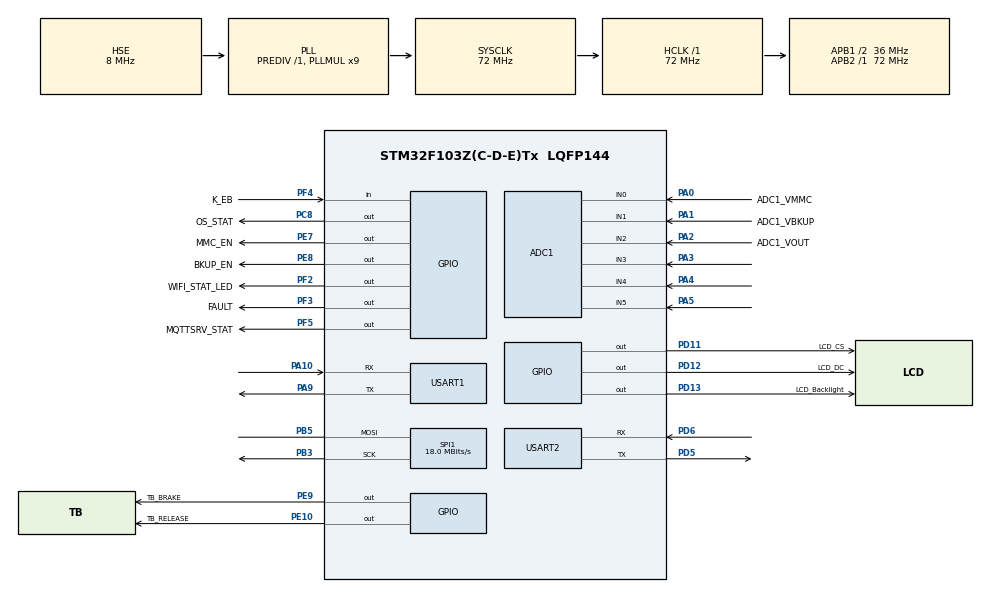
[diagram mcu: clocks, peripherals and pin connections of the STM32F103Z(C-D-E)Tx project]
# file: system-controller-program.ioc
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ADC1.Channel-10\#ChannelRegularConversion=ADC_CHANNEL_3
ADC1.Channel-11\#ChannelRegularConversion=ADC_CHANNEL_4
ADC1.Channel-12\#ChannelRegularConversion=ADC_CHANNEL_5
ADC1.Channel-4\#ChannelRegularConversion=ADC_CHANNEL_0
ADC1.Channel-5\#ChannelRegularConversion=ADC_CHANNEL_1
ADC1.Channel-6\#ChannelRegularConversion=ADC_CHANNEL_2
ADC1.ContinuousConvMode=ENABLE
ADC1.DiscontinuousConvMode=DISABLE
ADC1.EnableRegularConversion=ENABLE
ADC1.ExternalTrigConv=ADC_SOFTWARE_START
ADC1.NbrOfConversion=6
ADC1.NbrOfConversionFlag=1
ADC1.Rank-10\#ChannelRegularConversion=4
ADC1.Rank-11\#ChannelRegularConversion=5
ADC1.Rank-12\#ChannelRegularConversion=6
ADC1.Rank-4\#ChannelRegularConversion=1
ADC1.Rank-5\#ChannelRegularConversion=2
ADC1.Rank-6\#ChannelRegularConversion=3
ADC1.SamplingTime-10\#ChannelRegularConversion=ADC_SAMPLETIME_41CYCLES_5
ADC1.SamplingTime-11\#ChannelRegularConversion=ADC_SAMPLETIME_41CYCLES_5
ADC1.SamplingTime-12\#ChannelRegularConversion=ADC_SAMPLETIME_41CYCLES_5
ADC1.SamplingTime-4\#ChannelRegularConversion=ADC_SAMPLETIME_41CYCLES_5
ADC1.SamplingTime-5\#ChannelRegularConversion=ADC_SAMPLETIME_41CYCLES_5
ADC1.SamplingTime-6\#ChannelRegularConversion=ADC_SAMPLETIME_28CYCLES_5
ADC1.master=1
Dma.ADC1.2.Direction=DMA_PERIPH_TO_MEMORY
Dma.ADC1.2.Instance=DMA1_Channel1
Dma.ADC1.2.MemDataAlignment=DMA_MDATAALIGN_WORD
Dma.ADC1.2.MemInc=DMA_MINC_ENABLE
Dma.ADC1.2.Mode=DMA_CIRCULAR
Dma.ADC1.2.PeriphDataAlignment=DMA_PDATAALIGN_WORD
Dma.ADC1.2.PeriphInc=DMA_PINC_DISABLE
Dma.ADC1.2.Priority=DMA_PRIORITY_HIGH
Dma.Request0=USART1_RX
Dma.Request1=USART2_RX
Dma.Request2=ADC1
Dma.Request3=USART2_TX
Dma.Request4=USART1_TX
Dma.USART1_RX.0.Direction=DMA_PERIPH_TO_MEMORY
Dma.USART1_RX.0.Instance=DMA1_Channel5
Dma.USART1_RX.0.MemDataAlignment=DMA_MDATAALIGN_BYTE
Dma.USART1_RX.0.MemInc=DMA_MINC_ENABLE
Dma.USART1_RX.0.Mode=DMA_NORMAL
Dma.USART1_RX.0.PeriphDataAlignment=DMA_PDATAALIGN_BYTE
Dma.USART1_RX.0.PeriphInc=DMA_PINC_DISABLE
Dma.USART1_RX.0.Priority=DMA_PRIORITY_HIGH
Dma.USART1_TX.4.Direction=DMA_MEMORY_TO_PERIPH
Dma.USART1_TX.4.Instance=DMA1_Channel4
Dma.USART1_TX.4.MemDataAlignment=DMA_MDATAALIGN_BYTE
Dma.USART1_TX.4.MemInc=DMA_MINC_ENABLE
Dma.USART1_TX.4.Mode=DMA_NORMAL
Dma.USART1_TX.4.PeriphDataAlignment=DMA_PDATAALIGN_BYTE
Dma.USART1_TX.4.PeriphInc=DMA_PINC_DISABLE
Dma.USART1_TX.4.Priority=DMA_PRIORITY_HIGH
Dma.USART2_RX.1.Direction=DMA_PERIPH_TO_MEMORY
Dma.USART2_RX.1.Instance=DMA1_Channel6
Dma.USART2_RX.1.MemDataAlignment=DMA_MDATAALIGN_BYTE
Dma.USART2_RX.1.MemInc=DMA_MINC_ENABLE
Dma.USART2_RX.1.Mode=DMA_NORMAL
Dma.USART2_RX.1.PeriphDataAlignment=DMA_PDATAALIGN_BYTE
Dma.USART2_RX.1.PeriphInc=DMA_PINC_DISABLE
Dma.USART2_RX.1.Priority=DMA_PRIORITY_HIGH
Dma.USART2_TX.3.Direction=DMA_MEMORY_TO_PERIPH
Dma.USART2_TX.3.Instance=DMA1_Channel7
Dma.USART2_TX.3.MemDataAlignment=DMA_MDATAALIGN_BYTE
Dma.USART2_TX.3.MemInc=DMA_MINC_ENABLE
Dma.USART2_TX.3.Mode=DMA_NORMAL
Dma.USART2_TX.3.PeriphDataAlignment=DMA_PDATAALIGN_BYTE
Dma.USART2_TX.3.PeriphInc=DMA_PINC_DISABLE
Dma.USART2_TX.3.Priority=DMA_PRIORITY_HIGH
FREERTOS.Events01=sys_stat,Dynamic,NULL;state_machine,Dynamic,NULL
FREERTOS.Mutexes01=adc_mutex,Dynamic,NULL;lcd_mutex,Dynamic,NULL;esp_mutex,Dynamic,NULL
FREERTOS.Queues01=esp_rx_queue,8,255,1,Dynamic,NULL,NULL;esp_tx_queue,8,255,1,Dynamic,NULL,NULL;usr_cmd_queue,4,50,1,Dynamic,NULL,NULL;report_pwr_queue,1,50,1,Dynamic,NULL,NULL;mqtt_rx_msg_queue,4,255,1,Dynamic,NULL,NULL
FREERTOS.Tasks01=pwr_monitor,24,1050,pwr_monitor_tsk,Default,NULL,Dynamic,NULL,NULL;esp_msg,24,1050,esp_msg_tsk,As external,NULL,Dynamic,NULL,NULL;led_blink,24,128,led_blink_tsk,Default,NULL,Dynamic,NULL,NULL;mqtt_msg,24,1050,mqtt_msg_tsk,As external,NULL,Dynamic,NULL,NULL;display_stat,24,1050,sys_stat_tsk,Default,NULL,Dynamic,NULL,NULL;pwr_switch,24,128,pwr_switch_tsk,Default,NULL,Dynamic,NULL,NULL
FREERTOS.Timers01=tmr_report_pwr,tmr_report_pwr_clbk,osTimerPeriodic,As external,NULL,Dynamic,NULL
FREERTOS.configTOTAL_HEAP_SIZE=32768
Mcu.Family=STM32F1
Mcu.Name=STM32F103Z(C-D-E)Tx
Mcu.Package=LQFP144
NVIC.ADC1_2_IRQn=true\:5\:0\:false\:false\:true\:true\:true\:true\:true
NVIC.DMA1_Channel1_IRQn=true\:5\:0\:false\:false\:true\:true\:false\:true\:true
NVIC.DMA1_Channel4_IRQn=true\:5\:0\:false\:false\:true\:true\:false\:true\:true
NVIC.DMA1_Channel5_IRQn=true\:5\:0\:false\:false\:true\:true\:false\:true\:true
NVIC.DMA1_Channel6_IRQn=true\:5\:0\:false\:false\:true\:true\:false\:true\:true
NVIC.DMA1_Channel7_IRQn=true\:5\:0\:false\:false\:true\:true\:false\:true\:true
NVIC.PriorityGroup=NVIC_PRIORITYGROUP_4
NVIC.TIM1_UP_IRQn=true\:15\:0\:false\:false\:true\:false\:false\:true\:true
NVIC.TimeBase=TIM1_UP_IRQn
NVIC.TimeBaseIP=TIM1
NVIC.USART1_IRQn=true\:5\:0\:false\:false\:true\:true\:true\:true\:true
NVIC.USART2_IRQn=true\:5\:0\:false\:false\:true\:true\:true\:true\:true
OSC_IN.Mode=HSE-External-Oscillator
OSC_IN.Signal=RCC_OSC_IN
OSC_OUT.Mode=HSE-External-Oscillator
OSC_OUT.Signal=RCC_OSC_OUT
PA0-WKUP.GPIO_Label=ADC1_VMMC
PA0-WKUP.Signal=ADCx_IN0
PA1.GPIO_Label=ADC1_VBKUP
PA1.Signal=ADCx_IN1
PA10.Mode=Asynchronous
PA10.Signal=USART1_RX
PA13.Mode=Serial_Wire
PA13.Signal=SYS_JTMS-SWDIO
PA14.Mode=Serial_Wire
PA14.Signal=SYS_JTCK-SWCLK
PA2.GPIO_Label=ADC1_VOUT
PA2.Signal=ADCx_IN2
PA3.Signal=ADCx_IN3
PA4.Signal=ADCx_IN4
PA5.Signal=ADCx_IN5
PA9.Mode=Asynchronous
PA9.Signal=USART1_TX
PB3.Mode=Simplex_Bidirectional_Master
PB3.Signal=SPI1_SCK
PB5.Mode=Simplex_Bidirectional_Master
PB5.Signal=SPI1_MOSI
PC8.GPIO_Label=OS_STAT
PC8.Signal=GPIO_Output
PD11.GPIO_Label=LCD_CS
PD11.GPIO_Speed=GPIO_SPEED_FREQ_HIGH
PD11.Signal=GPIO_Output
PD12.GPIO_Label=LCD_DC
PD12.GPIO_Speed=GPIO_SPEED_FREQ_HIGH
PD12.Signal=GPIO_Output
PD13.GPIO_Label=LCD_Backlight
PD13.GPIO_Speed=GPIO_SPEED_FREQ_HIGH
PD13.Signal=GPIO_Output
PD5.Mode=Asynchronous
PD5.Signal=USART2_TX
PD6.GPIO_PuPd=GPIO_PULLUP
PD6.Mode=Asynchronous
PD6.Signal=USART2_RX
PE10.GPIO_Label=TB_RELEASE
PE10.Signal=GPIO_Output
PE7.GPIO_Label=MMC_EN
PE7.Signal=GPIO_Output
PE8.GPIO_Label=BKUP_EN
PE8.Signal=GPIO_Output
PE9.GPIO_Label=TB_BRAKE
PE9.Signal=GPIO_Output
PF2.GPIO_Label=WIFI_STAT_LED
PF2.Signal=GPIO_Output
PF3.GPIO_Label=FAULT
PF3.Signal=GPIO_Output
PF4.GPIO_Label=K_EB
PF4.Signal=GPIO_Input
PF5.GPIO_Label=MQTTSRV_STAT
PF5.Signal=GPIO_Output
ProjectManager.HeapSize=0x200
ProjectManager.StackSize=0x400
ProjectManager.TargetToolchain=MDK-ARM V5.32
RCC.ADCPresc=RCC_ADCPCLK2_DIV6
RCC.AHBFreq_Value=72000000
RCC.APB1CLKDivider=RCC_HCLK_DIV2
RCC.APB1Freq_Value=36000000
RCC.APB1TimFreq_Value=72000000
RCC.APB2Freq_Value=72000000
RCC.APB2TimFreq_Value=72000000
RCC.HCLKFreq_Value=72000000
RCC.PLLMUL=RCC_PLL_MUL9
RCC.PLLSourceVirtual=RCC_PLLSOURCE_HSE
RCC.SYSCLKFreq_VALUE=72000000
RCC.SYSCLKSource=RCC_SYSCLKSOURCE_PLLCLK
RCC.USBFreq_Value=72000000
SH.ADCx_IN0.0=ADC1_IN0,IN0
SH.ADCx_IN1.0=ADC1_IN1,IN1
SH.ADCx_IN2.0=ADC1_IN2,IN2
SH.ADCx_IN3.0=ADC1_IN3,IN3
SH.ADCx_IN4.0=ADC1_IN4,IN4
SH.ADCx_IN5.0=ADC1_IN5,IN5
SPI1.BaudRatePrescaler=SPI_BAUDRATEPRESCALER_4
SPI1.CalculateBaudRate=18.0 MBits/s
SPI1.Direction=SPI_DIRECTION_1LINE
SPI1.Mode=SPI_MODE_MASTER
SPI1.VirtualType=VM_MASTER
USART1.VirtualMode=VM_ASYNC
USART2.VirtualMode=VM_ASYNC
VP_FREERTOS_VS_CMSIS_V2.Mode=CMSIS_V2
VP_SYS_VS_tim1.Mode=TIM1
board=custom

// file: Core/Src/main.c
/* USER CODE BEGIN Header */
/**
 * @file main.c
 * @author Tiantian Zhong (giant@zju.edu.cn)
 * @brief The main program.
 * @date 2024-05-11
 *
 * @copyright Copyright (c) 2024 Tiantian Zhong @ Zhejiang University
 *            This file is part of ZJUI ECE 445 Spring 2024 Project 19.
 *
 */
/* USER CODE END Header */
#include "main.h"
#include "adc.h"
#include "cmsis_os.h"
#include "dma.h"
#include "gpio.h"
#include "spi.h"
#include "usart.h"

/* USER CODE BEGIN Includes */
#include "esp.h"
#include "lcd.h"
#include "printf.h"
#include "spi.h"
/* USER CODE END Includes */

/* USER CODE BEGIN PV */
uint8_t uart1_rx_data[255];     // UART1 DMA buffer
uint8_t uart1_rx_data_len;      // length of message received from UART1 in DMA buffer
volatile uint8_t uart1_rx_flag; // Flag to indicate that UART1 DMA has received data

uint8_t uart2_rx_data[255];     // UART2 DMA buffer
uint8_t uart2_rx_data_len;      // length of message received from UART2 in DMA buffer
volatile uint8_t uart2_rx_flag; // Flag to indicate that UART2 DMA has received data

uint32_t adc1_data[6];                                       // ADC1 DMA buffer
float adc_current_base_mmc = 0., adc_current_base_bkup = 0.; // ADC current base values

volatile uint8_t os_running = 0; // Indicating if FreeRTOS has started

/* USER CODE END PV */

void SystemClock_Config(void);
void MX_FREERTOS_Init(void);

int main(void)
{

    /* MCU Configuration--------------------------------------------------------*/

    /* Reset of all peripherals, Initializes the Flash interface and the Systick. */
    HAL_Init();

    /* Configure the system clock */
    SystemClock_Config();

    /* Initialize all configured peripherals */
    MX_GPIO_Init();
    MX_DMA_Init();
    MX_ADC1_Init();
    MX_USART1_UART_Init();
    MX_USART2_UART_Init();
    MX_SPI1_Init();
    /* USER CODE BEGIN 2 */
    // Make sure power supply is off
    HAL_GPIO_WritePin(MMC_EN_GPIO_Port, MMC_EN_Pin, GPIO_PIN_RESET);
    HAL_GPIO_WritePin(BKUP_EN_GPIO_Port, BKUP_EN_Pin, GPIO_PIN_RESET);

    // LCD initialization
    SPI_LCD_Init();
    lcd_open_screen();

    // Start UART
    __HAL_UART_ENABLE_IT(&huart1, UART_IT_IDLE);
    __HAL_UART_ENABLE_IT(&huart2, UART_IT_IDLE);
    HAL_UART_Receive_DMA(&huart1, uart1_rx_data, 255);
    HAL_UART_Receive_DMA(&huart2, uart2_rx_data, 255);

    // Start ADC
    HAL_ADCEx_Calibration_Start(&hadc1);
    HAL_ADC_Start_DMA(&hadc1, (uint32_t *)adc1_data, 6);
    HAL_Delay(5000);

    // ADC current channels calibration
    uint32_t tmp[2] = {0};
    for (uint8_t i = 0; i < 20; i++)
    {
        tmp[0] += adc1_data[3];
        tmp[1] += adc1_data[4];
        HAL_Delay(10);
    }
    tmp[0] /= 20;
    tmp[1] /= 20;
    adc_current_base_mmc = (float)tmp[0] / ADC_COEFFICIENT;
    adc_current_base_bkup = (float)tmp[1] / ADC_COEFFICIENT;

    LCD_UI_Init();
    /* USER CODE END 2 */

    /* Init scheduler */
    osKernelInitialize();

    /* Call init function for freertos objects (in cmsis_os2.c) */
    MX_FREERTOS_Init();

    /* Start scheduler */
    osKernelStart();

    /* We should never get here as control is now taken by the scheduler */

    /* Infinite loop */
    /* USER CODE BEGIN WHILE */
    while (1)
    {
        // we should never get here
    }
    /* USER CODE END WHILE */

}

void SystemClock_Config(void)
{
    RCC_OscInitTypeDef RCC_OscInitStruct = {0};
    RCC_ClkInitTypeDef RCC_ClkInitStruct = {0};
    RCC_PeriphCLKInitTypeDef PeriphClkInit = {0};

    /** Initializes the RCC Oscillators according to the specified parameters
     * in the RCC_OscInitTypeDef structure.
     */
    RCC_OscInitStruct.OscillatorType = RCC_OSCILLATORTYPE_HSE;
    RCC_OscInitStruct.HSEState = RCC_HSE_ON;
    RCC_OscInitStruct.HSEPredivValue = RCC_HSE_PREDIV_DIV1;
    RCC_OscInitStruct.HSIState = RCC_HSI_ON;
    RCC_OscInitStruct.PLL.PLLState = RCC_PLL_ON;
    RCC_OscInitStruct.PLL.PLLSource = RCC_PLLSOURCE_HSE;
    RCC_OscInitStruct.PLL.PLLMUL = RCC_PLL_MUL9;
    if (HAL_RCC_OscConfig(&RCC_OscInitStruct) != HAL_OK)
    {
        Error_Handler();
    }

    /** Initializes the CPU, AHB and APB buses clocks
     */
    RCC_ClkInitStruct.ClockType = RCC_CLOCKTYPE_HCLK | RCC_CLOCKTYPE_SYSCLK | RCC_CLOCKTYPE_PCLK1 | RCC_CLOCKTYPE_PCLK2;
    RCC_ClkInitStruct.SYSCLKSource = RCC_SYSCLKSOURCE_PLLCLK;
    RCC_ClkInitStruct.AHBCLKDivider = RCC_SYSCLK_DIV1;
    RCC_ClkInitStruct.APB1CLKDivider = RCC_HCLK_DIV2;
    RCC_ClkInitStruct.APB2CLKDivider = RCC_HCLK_DIV1;

    if (HAL_RCC_ClockConfig(&RCC_ClkInitStruct, FLASH_LATENCY_2) != HAL_OK)
    {
        Error_Handler();
    }
    PeriphClkInit.PeriphClockSelection = RCC_PERIPHCLK_ADC;
    PeriphClkInit.AdcClockSelection = RCC_ADCPCLK2_DIV6;
    if (HAL_RCCEx_PeriphCLKConfig(&PeriphClkInit) != HAL_OK)
    {
        Error_Handler();
    }
}

void HAL_TIM_PeriodElapsedCallback(TIM_HandleTypeDef *htim)
{
    if (htim->Instance == TIM1)
    {
        HAL_IncTick();
    }
}

void Error_Handler(void)
{
    /* USER CODE BEGIN Error_Handler_Debug */
    /* User can add his own implementation to report the HAL error return state
     */
    __disable_irq();
    while (1)
    {
    }
    /* USER CODE END Error_Handler_Debug */
}

#ifdef USE_FULL_ASSERT
/**
 * @brief  Reports the name of the source file and the source line number
 *         where the assert_param error has occurred.
 * @param  file: pointer to the source file name
 * @param  line: assert_param error line source number
 * @retval None
 */
void assert_failed(uint8_t *file, uint32_t line)
{
    /* USER CODE BEGIN 6 */
    /* User can add his own implementation to report the file name and line
       number, ex: printf("Wrong parameters value: file %s on line %d\r\n", file,
       line) */
    /* USER CODE END 6 */
}
#endif /* USE_FULL_ASSERT */

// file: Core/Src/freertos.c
/* USER CODE BEGIN Header */
/**
 * @file freertos.c
 * @author Tiantian Zhong (giant@zju.edu.cn)
 * @brief FreeRTOS initialization and tasks.
 *        This file is modified based on the original freertos.c file generated by STM32CubeMX.
 * @date 2024-05-11
 *
 * @copyright Copyright (c) 2024 Tiantian Zhong @ Zhejiang University
 *          This file is part of ZJUI ECE 445 Spring 2024 Project 19.
 *
 */
/* USER CODE END Header */

#include "FreeRTOS.h"
#include "cmsis_os.h"
#include "main.h"
#include "task.h"

/* USER CODE BEGIN Includes */
// peripherals
#include "adc.h"
#include "esp.h"
#include "lcd.h"
#include "os_events.h"
#include "queue.h"
#include "usart.h"
#include <stdio.h>
#include <string.h>

/* USER CODE END Includes */

/* USER CODE BEGIN PD */
#define OVERLOAD_LIMIT 3.           // in A
#define UNDERLOAD_VOLTAGE_LIMIT 2.5 // in V
/* USER CODE END PD */

/* USER CODE BEGIN Variables */
extern uint8_t os_running;

// ADC data buffer
extern uint32_t adc1_data[4];

// ADC current sensor voltage base
extern float adc_current_base_mmc, adc_current_base_bkup;

// Power data
sysPwrData_t sys_pwr = {0};

/* USER CODE END Variables */
/* Definitions for pwr_monitor */
osThreadId_t pwr_monitorHandle;
const osThreadAttr_t pwr_monitor_attributes = {
    .name = "pwr_monitor",
    .stack_size = 1050 * 4,
    .priority = (osPriority_t)osPriorityNormal,
};
/* Definitions for esp_msg */
osThreadId_t esp_msgHandle;
const osThreadAttr_t esp_msg_attributes = {
    .name = "esp_msg",
    .stack_size = 1050 * 4,
    .priority = (osPriority_t)osPriorityNormal,
};
/* Definitions for led_blink */
osThreadId_t led_blinkHandle;
const osThreadAttr_t led_blink_attributes = {
    .name = "led_blink",
    .stack_size = 128 * 4,
    .priority = (osPriority_t)osPriorityNormal,
};
/* Definitions for mqtt_msg */
osThreadId_t mqtt_msgHandle;
const osThreadAttr_t mqtt_msg_attributes = {
    .name = "mqtt_msg",
    .stack_size = 1050 * 4,
    .priority = (osPriority_t)osPriorityNormal,
};
/* Definitions for display_stat */
osThreadId_t display_statHandle;
const osThreadAttr_t display_stat_attributes = {
    .name = "display_stat",
    .stack_size = 1050 * 4,
    .priority = (osPriority_t)osPriorityNormal,
};
/* Definitions for pwr_switch */
osThreadId_t pwr_switchHandle;
const osThreadAttr_t pwr_switch_attributes = {
    .name = "pwr_switch",
    .stack_size = 128 * 4,
    .priority = (osPriority_t)osPriorityNormal,
};
/* Definitions for esp_rx_queue */
osMessageQueueId_t esp_rx_queueHandle;
const osMessageQueueAttr_t esp_rx_queue_attributes = {.name = "esp_rx_queue"};
/* Definitions for esp_tx_queue */
osMessageQueueId_t esp_tx_queueHandle;
const osMessageQueueAttr_t esp_tx_queue_attributes = {.name = "esp_tx_queue"};
/* Definitions for usr_cmd_queue */
osMessageQueueId_t usr_cmd_queueHandle;
const osMessageQueueAttr_t usr_cmd_queue_attributes = {.name = "usr_cmd_queue"};
/* Definitions for report_pwr_queue */
osMessageQueueId_t report_pwr_queueHandle;
const osMessageQueueAttr_t report_pwr_queue_attributes = {.name = "report_pwr_queue"};
/* Definitions for mqtt_rx_msg_queue */
osMessageQueueId_t mqtt_rx_msg_queueHandle;
const osMessageQueueAttr_t mqtt_rx_msg_queue_attributes = {.name = "mqtt_rx_msg_queue"};
/* Definitions for tmr_report_pwr */
osTimerId_t tmr_report_pwrHandle;
const osTimerAttr_t tmr_report_pwr_attributes = {.name = "tmr_report_pwr"};
/* Definitions for adc_mutex */
osMutexId_t adc_mutexHandle;
const osMutexAttr_t adc_mutex_attributes = {.name = "adc_mutex"};
/* Definitions for lcd_mutex */
osMutexId_t lcd_mutexHandle;
const osMutexAttr_t lcd_mutex_attributes = {.name = "lcd_mutex"};
/* Definitions for sys_stat */
osEventFlagsId_t sys_statHandle;
const osEventFlagsAttr_t sys_stat_attributes = {.name = "sys_stat"};
/* Definitions for state_machine */
osEventFlagsId_t state_machineHandle;
const osEventFlagsAttr_t state_machine_attributes = {.name = "state_machine"};

/* USER CODE BEGIN FunctionPrototypes */
extern uint8_t eb_scan();
/* USER CODE END FunctionPrototypes */

void pwr_monitor_tsk(void *argument);
extern void esp_msg_tsk(void *argument);
void led_blink_tsk(void *argument);
extern void mqtt_msg_tsk(void *argument);
void sys_stat_tsk(void *argument);
void pwr_switch_tsk(void *argument);
extern void tmr_report_pwr_clbk(void *argument);

void MX_FREERTOS_Init(void); /* (MISRA C 2004 rule 8.1) */

void MX_FREERTOS_Init(void)
{
    /* USER CODE BEGIN Init */
    os_running = 1;
    /* USER CODE END Init */
    /* Create the mutex(es) */
    /* creation of adc_mutex */
    adc_mutexHandle = osMutexNew(&adc_mutex_attributes);

    /* creation of lcd_mutex */
    lcd_mutexHandle = osMutexNew(&lcd_mutex_attributes);

    /* Create the timer(s) */
    /* creation of tmr_report_pwr */
    tmr_report_pwrHandle = osTimerNew(tmr_report_pwr_clbk, osTimerPeriodic, NULL, &tmr_report_pwr_attributes);

    /* Create the queue(s) */
    /* creation of esp_rx_queue */
    esp_rx_queueHandle = osMessageQueueNew(8, 255, &esp_rx_queue_attributes);

    /* creation of esp_tx_queue */
    esp_tx_queueHandle = osMessageQueueNew(8, 255, &esp_tx_queue_attributes);

    /* creation of usr_cmd_queue */
    usr_cmd_queueHandle = osMessageQueueNew(4, 50, &usr_cmd_queue_attributes);

    /* creation of report_pwr_queue */
    report_pwr_queueHandle = osMessageQueueNew(1, 50, &report_pwr_queue_attributes);

    /* creation of mqtt_rx_msg_queue */
    mqtt_rx_msg_queueHandle = osMessageQueueNew(4, 255, &mqtt_rx_msg_queue_attributes);

    /* Create the thread(s) */
    /* creation of pwr_monitor */
    pwr_monitorHandle = osThreadNew(pwr_monitor_tsk, NULL, &pwr_monitor_attributes);

    /* creation of esp_msg */
    esp_msgHandle = osThreadNew(esp_msg_tsk, NULL, &esp_msg_attributes);

    /* creation of led_blink */
    led_blinkHandle = osThreadNew(led_blink_tsk, NULL, &led_blink_attributes);

    /* creation of mqtt_msg */
    mqtt_msgHandle = osThreadNew(mqtt_msg_tsk, NULL, &mqtt_msg_attributes);

    /* creation of display_stat */
    display_statHandle = osThreadNew(sys_stat_tsk, NULL, &display_stat_attributes);

    /* creation of pwr_switch */
    pwr_switchHandle = osThreadNew(pwr_switch_tsk, NULL, &pwr_switch_attributes);

    /* creation of sys_stat */
    sys_statHandle = osEventFlagsNew(&sys_stat_attributes);

    /* creation of state_machine */
    state_machineHandle = osEventFlagsNew(&state_machine_attributes);

}

void pwr_monitor_tsk(void *argument)
{
    /* USER CODE BEGIN pwr_monitor_tsk */
    uint32_t adc_value_buff[6];
    uint32_t adc_value_accumulate[6];
    uint8_t sys_state = IDLE_STATE; // state machine
    uint8_t state_change = 0;

    uint16_t voltage_backup_cut_in = 12;
    uint16_t voltage_backup_cut_out = 20;
    uint16_t current_limit = 5;

    user_cmd_t user_cmd = {0};
    user_cmd.voltage_backup_cut_in = 10;
    user_cmd.voltage_backup_cut_out = 12;
    user_cmd.current = 10;

    osTimerStart(tmr_report_pwrHandle, 1000);
    osEventFlagsClear(state_machineHandle, 0xFFFFFFU);
    osEventFlagsSet(state_machineHandle, STATE_MACHINE_IDLE);
    HAL_GPIO_WritePin(MMC_EN_GPIO_Port, MMC_EN_Pin, GPIO_PIN_RESET);
    HAL_GPIO_WritePin(BKUP_EN_GPIO_Port, BKUP_EN_Pin, GPIO_PIN_RESET);
    lcd_show_limits(voltage_backup_cut_in, voltage_backup_cut_out, current_limit);
    lcd_show_states(0);

    /* Infinite loop */
    for (;;)
    {
        // update smart power routing voltage parameters and overload current limit parameter
        if (osMessageQueueGet(usr_cmd_queueHandle, &user_cmd, NULL, 0) == osOK)
        {
            if (user_cmd.voltage_backup_cut_in > 0) // 0 means no change
            {
                voltage_backup_cut_in = user_cmd.voltage_backup_cut_in / 100;
            }
            if (user_cmd.voltage_backup_cut_out > 0) // 0 means no change
            {
                voltage_backup_cut_out = user_cmd.voltage_backup_cut_out / 100;
            }
            if (user_cmd.current > 0) // 0 means no change
            {
                current_limit = user_cmd.current / 100;
            }

            // apply user command specified mode to the system
            if (sys_state != EB_STATE)
            {
                // printf("User command received\r\n");
                state_change = 1;
                switch (user_cmd.mode)
                {
                case (CMD_PWR_OFF - '0'):
                    // printf("CMD_PWR_OFF\r\n");
                    sys_state = IDLE_STATE;
                    lcd_show_states(0);
                    break;
                case (CMD_SMART_PWR_ROUTING - '0'):
                    // printf("CMD_SMART_PWR_ROUTING\r\n");
                    sys_state = PWR_ROUTING_STATE;
                    lcd_show_states(1);
                    break;
                case (CMD_PWR_FORCE_PRIMARY - '0'):
                    // printf("CMD_PWR_FORCE_PRIMARY\r\n");
                    sys_state = PWR_FORCE_PRIMARY_STATE;
                    lcd_show_states(2);
                    break;
                case (CMD_PWR_FORCE_BACKUP - '0'):
                    // printf("CMD_PWR_FORCE_BACKUP\r\n");
                    sys_state = PWR_FORCE_BACKUP_STATE;
                    lcd_show_states(3);
                    break;
                default: // invalid command
                    sys_state = IDLE_STATE;
                    lcd_show_states(0);
                    break;
                }
            }
            // send response back to user
            osMessageQueuePut(esp_tx_queueHandle, "AT+MQTTPUB=0,\"system/response\",\"1\",2,0\r\n", 1, 1000);
            lcd_show_limits(voltage_backup_cut_in, voltage_backup_cut_out, current_limit);
        }

        // get ADC data 100 times
				printf("ADC Read\r\n");
        memset(adc_value_accumulate, 0, sizeof(adc_value_accumulate));
        for (uint8_t i = 0; i < 100; i++)
        {
            // get ADC data
            if (osMutexAcquire(adc_mutexHandle, 0) == osOK)
            {
                memcpy(adc_value_buff, adc1_data, sizeof(adc_value_buff));
                osMutexRelease(adc_mutexHandle);
                for (uint8_t j = 0; j < 6; j++)
                {
                    adc_value_accumulate[j] += adc_value_buff[j];
                }
            }
            osDelay(1);
        }
        // get average ADC data
        for (uint8_t i = 0; i < 6; i++)
        {
            adc_value_buff[i] = adc_value_accumulate[i] / 100;
        }
        // Calculate power data
        sys_pwr.mmc.voltage = adc_value_buff[0] / ADC_COEFFICIENT * ADC_COEFFICIENT_VOLTAGE_MMC;
        sys_pwr.bkup.voltage = adc_value_buff[1] / ADC_COEFFICIENT * ADC_COEFFICIENT_VOLTAGE_BKUP;
        sys_pwr.mmc.current = (adc_current_base_mmc - (adc_value_buff[3] / ADC_COEFFICIENT)) / 0.1;
        sys_pwr.bkup.current = (adc_current_base_bkup - (adc_value_buff[4] / ADC_COEFFICIENT)) / 0.1;
        sys_pwr.mmc.power = sys_pwr.mmc.voltage * sys_pwr.mmc.current;
        sys_pwr.bkup.power = sys_pwr.bkup.voltage * sys_pwr.bkup.current;

        //  overload protection
        if ((sys_pwr.mmc.current > current_limit || sys_pwr.bkup.current > current_limit) &&
            (sys_state != OVERLOAD_STATE && sys_state != EB_STATE))
        {
            sys_state = OVERLOAD_STATE;
            state_change = 1;
            osDelay(50);
        }

        // emergency button
        if (eb_scan() && sys_state != EB_STATE) // EB pressed
        {
            sys_state = EB_STATE;
            state_change = 1;
            osDelay(50);
        }
        if (!eb_scan() && sys_state == EB_STATE) // EB released
        {
            sys_state = IDLE_STATE;
            state_change = 1;
            osDelay(50);
        }

        if (state_change)
        {
            // printf("State change detected\r\n");
            state_change = 0;
            switch (sys_state)
            {
            case IDLE_STATE: {
                // printf("IDLE_STATE SET\r\n");
                sys_pwr.pwr_src = PWR_SRC_OFF;
                osEventFlagsSet(sys_statHandle, EVENT_PWR_OFF);
                osEventFlagsSet(state_machineHandle, STATE_MACHINE_IDLE);
                break;
            }
            case PWR_ROUTING_STATE: {
                // printf("PWR_ROUTING_STATE SET\r\n");
                // By default connect MMC to output if possible
                if (sys_pwr.mmc.voltage > voltage_backup_cut_in)
                {
                    sys_pwr.pwr_src = PWR_SRC_MMC;
                    osEventFlagsSet(sys_statHandle, EVENT_MMC_EN);
                }
                else if (sys_pwr.mmc.voltage < voltage_backup_cut_in)
                {
                    sys_pwr.pwr_src = PWR_SRC_BKUP;
                    osEventFlagsSet(sys_statHandle, EVENT_BKUP_EN);
                }
                // set state machine
                osEventFlagsSet(state_machineHandle, STATE_MACHINE_NORMAL);
                break;
            }
            case PWR_FORCE_PRIMARY_STATE: {
                // printf("PWR_FORCE_PRIMARY_STATE SET\r\n");
                sys_pwr.pwr_src = PWR_SRC_MMC;
                osEventFlagsSet(sys_statHandle, EVENT_MMC_EN);
                osEventFlagsSet(state_machineHandle, STATE_MACHINE_NORMAL);
                break;
            }
            case PWR_FORCE_BACKUP_STATE: {
                // printf("PWR_FORCE_BACKUP_STATE SET\r\n");
                sys_pwr.pwr_src = PWR_SRC_BKUP;
                osEventFlagsSet(sys_statHandle, EVENT_BKUP_EN);
                osEventFlagsSet(state_machineHandle, STATE_MACHINE_NORMAL);
                break;
            }
            case OVERLOAD_STATE: {
                // printf("OVERLOAD_STATE SET\r\n");
                sys_pwr.pwr_src = PWR_SRC_OFF;
                osEventFlagsSet(sys_statHandle, EVENT_OVERLOAD);
                osEventFlagsSet(state_machineHandle, STATE_MACHINE_OVERLD);
                break;
            }
            case EB_STATE: {
                // printf("EB_STATE SET\r\n");
                sys_pwr.pwr_src = PWR_SRC_OFF;
                osEventFlagsSet(sys_statHandle, EVENT_EB);
                osEventFlagsSet(state_machineHandle, STATE_MACHINE_EB);
                break;
            }
            default:
                break;
            }
        }

        // report power info to lcd and esp8266 (every one second)
        xQueueOverwrite(report_pwr_queueHandle, &sys_pwr);

        if (sys_state != PWR_ROUTING_STATE)
        {
            continue;
        }

        // Power Routing Policy Starts Here
        if (sys_pwr.mmc.voltage < voltage_backup_cut_in && sys_pwr.pwr_src != PWR_SRC_BKUP)
        {
            sys_pwr.pwr_src = PWR_SRC_BKUP;
            osEventFlagsSet(sys_statHandle, EVENT_BKUP_EN);
        }
        else if (sys_pwr.mmc.voltage > voltage_backup_cut_out && sys_pwr.pwr_src != PWR_SRC_MMC)
        {
            sys_pwr.pwr_src = PWR_SRC_MMC;
            osEventFlagsSet(sys_statHandle, EVENT_MMC_EN);
        }

        osDelay(10);
    }
    /* USER CODE END pwr_monitor_tsk */
}

/* USER CODE BEGIN Header_led_blink_tsk */
/**
 * @brief Blink the OS_STAT LED to indicate FreeRTOS is running.
 * @param argument: Not used
 * @retval None
 */
/* USER CODE END Header_led_blink_tsk */
void led_blink_tsk(void *argument)
{
    /* USER CODE BEGIN led_blink_tsk */
    /* Infinite loop */
    HAL_GPIO_WritePin(OS_STAT_GPIO_Port, OS_STAT_Pin, GPIO_PIN_SET);
    for (;;)
    {
        HAL_GPIO_TogglePin(OS_STAT_GPIO_Port, OS_STAT_Pin);
        osDelay(500);
    }
    /* USER CODE END led_blink_tsk */
}

/* USER CODE BEGIN Header_sys_stat_tsk */
/**
 * @brief Send state warning to MQTT broker
 * @param argument: Not used
 * @retval None
 */
/* USER CODE END Header_sys_stat_tsk */
void sys_stat_tsk(void *argument)
{
    /* USER CODE BEGIN sys_stat_tsk */
    uint8_t buff[256] = {0};
    uint8_t ovld_sent = 0, eb_sent = 0, normal_sent = 0;
    uint8_t lcd_normal_handled = 0, lcd_bkup_handled = 0;
    uint32_t state_machine_flags = 0;
    /* Infinite loop */
    for (;;)
    {
        osEventFlagsWait(sys_statHandle, EVENT_MQTT_CONN_STAT, osFlagsNoClear,
                         osWaitForever); // wait for mqtt connection
        state_machine_flags = osEventFlagsWait(
            state_machineHandle, STATE_MACHINE_EB | STATE_MACHINE_OVERLD | STATE_MACHINE_IDLE | STATE_MACHINE_NORMAL,
            osFlagsWaitAny, osWaitForever);
        if ((state_machine_flags & STATE_MACHINE_OVERLD))
        {
            // printf("SM Overload detected\r\n");
            sprintf(buff, "AT+MQTTPUB=0,\"%s\",\"%d\",%d,0\r\n", MQTT_TOPIC_WARN, MQTT_WARN_OVERLOAD, MQTT_QOS2);
            osMessageQueuePut(esp_tx_queueHandle, buff, 1, 500);
        }
        else if ((state_machine_flags & STATE_MACHINE_EB))
        {
            // printf("SM EB detected\r\n");
            sprintf(buff, "AT+MQTTPUB=0,\"%s\",\"%d\",%d,0\r\n", MQTT_TOPIC_WARN, MQTT_WARN_EB_PRESSED, MQTT_QOS2);
            osMessageQueuePut(esp_tx_queueHandle, buff, 1, 500);
        }
        else if ((state_machine_flags & STATE_MACHINE_IDLE) || (state_machine_flags & STATE_MACHINE_NORMAL))
        {
            // printf("SM idle detected\r\n");
            sprintf(buff, "AT+MQTTPUB=0,\"%s\",\"%d\",%d,0\r\n", MQTT_TOPIC_WARN, MQTT_WARN_NORMAL, MQTT_QOS2);
            osMessageQueuePut(esp_tx_queueHandle, buff, 1, 500);
        }
        osDelay(10);
    }
    /* USER CODE END sys_stat_tsk */
}

/* USER CODE BEGIN Header_pwr_switch_tsk */
/**
 * @brief Send control signals to relays.
 * @param argument: Not used
 * @retval None
 */
/* USER CODE END Header_pwr_switch_tsk */
void pwr_switch_tsk(void *argument)
{
    /* USER CODE BEGIN pwr_switch_tsk */
    uint32_t event_flags;
    /* Infinite loop */
    for (;;)
    {
        event_flags =
            osEventFlagsWait(sys_statHandle, EVENT_MMC_EN | EVENT_BKUP_EN | EVENT_PWR_OFF | EVENT_OVERLOAD | EVENT_EB,
                             osFlagsWaitAny, osWaitForever);
        {
            // printf("Event received\r\n");
            if (event_flags & EVENT_MMC_EN)
            {
                HAL_GPIO_WritePin(BKUP_EN_GPIO_Port, BKUP_EN_Pin, GPIO_PIN_RESET);
                osDelay(100);
                HAL_GPIO_WritePin(MMC_EN_GPIO_Port, MMC_EN_Pin, GPIO_PIN_SET);
                lcd_show_normal();
            }
            else if (event_flags & EVENT_BKUP_EN)
            {
                HAL_GPIO_WritePin(MMC_EN_GPIO_Port, MMC_EN_Pin, GPIO_PIN_RESET);
                osDelay(100);
                HAL_GPIO_WritePin(BKUP_EN_GPIO_Port, BKUP_EN_Pin, GPIO_PIN_SET);
                lcd_show_backup();
            }
            else if (event_flags & EVENT_PWR_OFF)
            {
                HAL_GPIO_WritePin(MMC_EN_GPIO_Port, MMC_EN_Pin, GPIO_PIN_RESET);
                HAL_GPIO_WritePin(BKUP_EN_GPIO_Port, BKUP_EN_Pin, GPIO_PIN_RESET);
                lcd_show_idle();
            }
            else if (event_flags & EVENT_OVERLOAD)
            {
                HAL_GPIO_WritePin(MMC_EN_GPIO_Port, MMC_EN_Pin, GPIO_PIN_RESET);
                HAL_GPIO_WritePin(BKUP_EN_GPIO_Port, BKUP_EN_Pin, GPIO_PIN_RESET);
                lcd_show_overload();
            }
            else if (event_flags & EVENT_EB)
            {
                HAL_GPIO_WritePin(MMC_EN_GPIO_Port, MMC_EN_Pin, GPIO_PIN_RESET);
                HAL_GPIO_WritePin(BKUP_EN_GPIO_Port, BKUP_EN_Pin, GPIO_PIN_RESET);
                lcd_show_eb();
            }
        }
    }
    /* USER CODE END pwr_switch_tsk */
}
